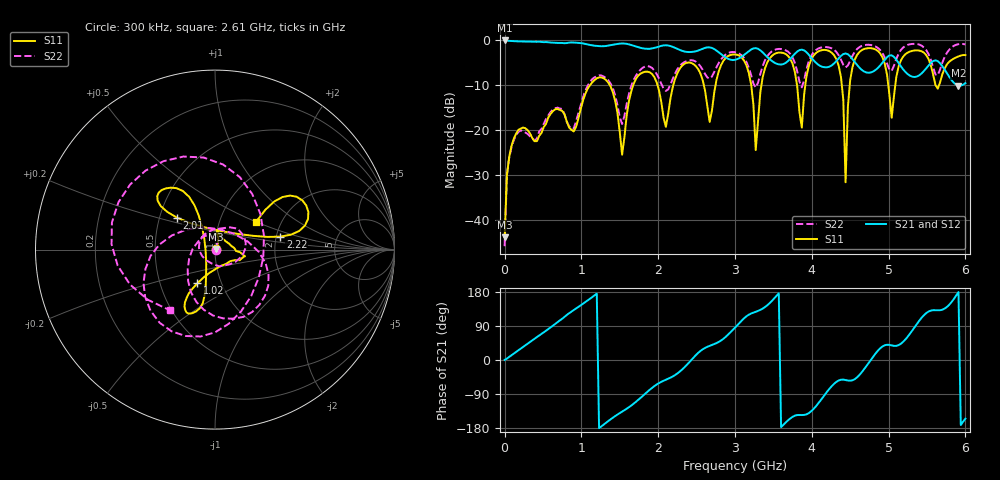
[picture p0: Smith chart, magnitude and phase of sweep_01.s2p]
! 2-port S-parameters written by miniscope-char acquisition
! instrument: Pico Technology Ltd,PicoVNA-106,10080,5.3.4
! transport: scpi
! endpoint: 127.0.0.1:5025
! demo: false
! calibration: user
! calibration_file: June 2026 Short cable calibration.calx
# HZ S RI R 50
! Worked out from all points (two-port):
!   201 points, 300 kHz to 6 GHz, reference 50 ohm
!   highest |S21| = -0.05 dB at 300 kHz (marker M1); lowest = -10.1 dB at 5.91 GHz (marker M2)
!   |S21| within 3 dB of the highest: start of sweep to 2.816 GHz; 3.134 GHz to 3.381 GHz (246.1 MHz wide, 7.55 % of centre)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
!   lowest |S11| = -43.9 dB at 300 kHz (marker M3), VSWR 1.01, Z = 50.5 + j0.361 ohm
!   |S11| at or under -10 dB: start of sweep to 1.113 GHz; 1.37 GHz to 1.675 GHz (305.5 MHz wide, 20.1 % of centre); 1.991 GHz to 2.197 GHz (206 MHz wide, 9.84 % of centre)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
!   |S22| runs from -45.9 to -0.8 dB; largest |S21 - S12| = 0.0093
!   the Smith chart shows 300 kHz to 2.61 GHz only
!   S11 on the Smith chart (normalised r, x): 300 kHz: 1.01, +0.01; 1.02 GHz: 0.77, -0.30; 2.01 GHz: 0.61, +0.24; 2.22 GHz: 2.11, +0.35; 2.61 GHz: 1.49, +0.50
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300000  0.00532 0.00357  0.9942 0.00354  0.9883 0.0107  0.0049 -0.00135
1.502925e8  0.0113 0.0904  0.9064 0.3522  0.9066 0.355  -0.0405 0.078
1.020249e9  -0.0985 -0.1878  -0.7852 0.4818  -0.7877 0.4798  -0.1498 -0.1743
1.530224e9  -0.0519 -0.0114  -0.6646 -0.6361  -0.6634 -0.6382  0.0167 0.1156
2.0102e9  -0.2127 0.1787  0.4131 -0.7441  0.4172 -0.7447  0.1444 -0.3455
2.220189e9  0.3646 0.0724  0.6333 -0.5254  0.636 -0.5224  0.1383 0.4039
2.61017e9  0.228 0.1538  0.698 0.4341  0.6961 0.4372  -0.2503 -0.3386
3.00015e9  0.2883 -0.6314  0.0496 0.6029  0.0474 0.6016  0.4024 0.6163
3.270136e9  0.0579 0.0146  -0.4943 0.6499  -0.4963 0.6491  -0.2793 -0.1013
3.570122e9  -0.7263 -0.0563  -0.5368 0.037  -0.537 0.0341  0.7762 -0.1952
3.870106e9  0.0983 -0.0409  -0.6453 -0.4473  -0.6466 -0.4481  -0.1675 0.2473
4.020099e9  0.5207 0.4206  -0.3857 -0.4632  -0.3819 -0.4639  -0.5324 -0.4971
4.350082e9  -0.1741 0.4891  0.3687 -0.5084  0.3686 -0.5069  0.6743 -0.0951
4.440078e9  0.00674 0.0253  0.4308 -0.5673  0.4304 -0.5668  0.3513 0.3526
4.500075e9  0.1614 -0.3227  0.3833 -0.539  0.3844 -0.5391  0.0363 0.5926
4.740063e9  0.7572 -0.3035  0.43 -0.0594  0.4298 -0.0579  -0.885 -0.0952
5.01005e9  0.1863 0.1659  0.5194 0.4335  0.5174 0.4346  0.3429 -0.3233
5.250038e9  -0.6419 -0.346  0.1975 0.3686  0.1964 0.3701  0.111 0.8817
5.460027e9  0.0141 -0.7272  -0.2149 0.4005  -0.2171 0.4  -0.7765 0.2977
5.670016e9  0.3025 0.1531  -0.3657 0.4159  -0.3658 0.4162  0.228 -0.4135
5.910004e9  -0.2397 0.6155  -0.3122 0.00433  -0.3119 0.0044  0.6397 0.6391
6e9  -0.4922 0.4731  -0.3008 -0.1424  -0.3003 -0.1437  0.2139 0.871
